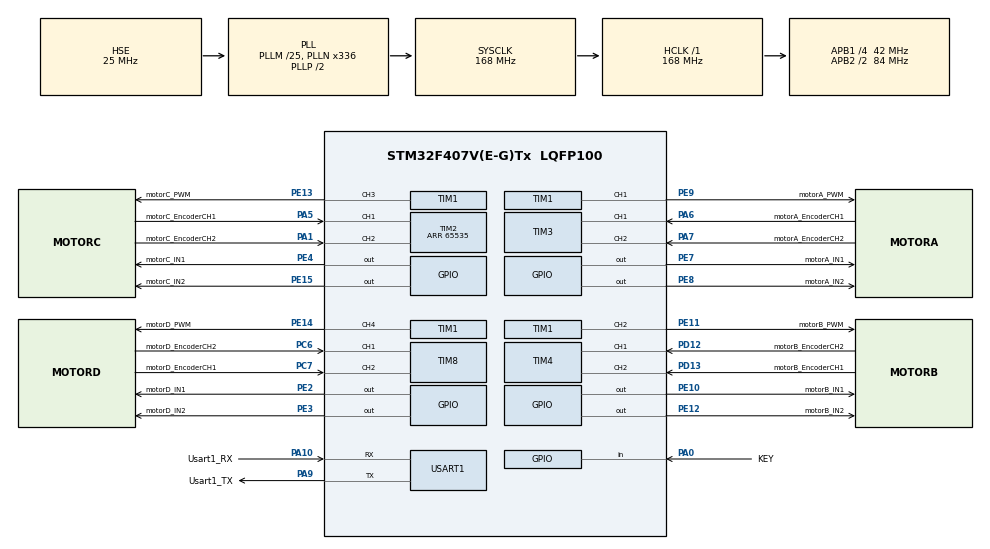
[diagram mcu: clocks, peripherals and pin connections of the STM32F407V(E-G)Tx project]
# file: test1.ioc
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Dma.Request0=USART1_TX
Dma.Request1=USART1_RX
Dma.USART1_RX.1.Direction=DMA_PERIPH_TO_MEMORY
Dma.USART1_RX.1.FIFOMode=DMA_FIFOMODE_DISABLE
Dma.USART1_RX.1.Instance=DMA2_Stream2
Dma.USART1_RX.1.MemDataAlignment=DMA_MDATAALIGN_BYTE
Dma.USART1_RX.1.MemInc=DMA_MINC_ENABLE
Dma.USART1_RX.1.Mode=DMA_NORMAL
Dma.USART1_RX.1.PeriphDataAlignment=DMA_PDATAALIGN_BYTE
Dma.USART1_RX.1.PeriphInc=DMA_PINC_DISABLE
Dma.USART1_RX.1.Priority=DMA_PRIORITY_LOW
Dma.USART1_TX.0.Direction=DMA_MEMORY_TO_PERIPH
Dma.USART1_TX.0.FIFOMode=DMA_FIFOMODE_DISABLE
Dma.USART1_TX.0.Instance=DMA2_Stream7
Dma.USART1_TX.0.MemDataAlignment=DMA_MDATAALIGN_BYTE
Dma.USART1_TX.0.MemInc=DMA_MINC_ENABLE
Dma.USART1_TX.0.Mode=DMA_NORMAL
Dma.USART1_TX.0.PeriphDataAlignment=DMA_PDATAALIGN_BYTE
Dma.USART1_TX.0.PeriphInc=DMA_PINC_DISABLE
Dma.USART1_TX.0.Priority=DMA_PRIORITY_LOW
Mcu.Family=STM32F4
Mcu.Name=STM32F407V(E-G)Tx
Mcu.Package=LQFP100
NVIC.DMA2_Stream2_IRQn=true\:0\:0\:false\:false\:true\:false\:true\:true
NVIC.DMA2_Stream7_IRQn=true\:0\:0\:false\:false\:true\:false\:true\:true
NVIC.PriorityGroup=NVIC_PRIORITYGROUP_2
NVIC.TIM2_IRQn=true\:0\:0\:false\:false\:true\:true\:true\:true
NVIC.TIM3_IRQn=true\:0\:0\:false\:false\:true\:true\:true\:true
NVIC.TIM4_IRQn=true\:0\:0\:false\:false\:true\:true\:true\:true
NVIC.TIM7_IRQn=true\:0\:0\:false\:false\:true\:true\:true\:true
NVIC.TIM8_UP_TIM13_IRQn=true\:0\:0\:false\:false\:true\:true\:true\:true
NVIC.USART1_IRQn=true\:0\:0\:false\:false\:true\:true\:true\:true
PA0-WKUP.GPIO_Label=KEY
PA0-WKUP.GPIO_PuPd=GPIO_PULLDOWN
PA0-WKUP.Signal=GPIO_Input
PA1.GPIO_Label=motorC_EncoderCH2
PA1.GPIO_Speed=GPIO_SPEED_FREQ_VERY_HIGH
PA1.Signal=S_TIM2_CH2
PA10.GPIO_Label=Usart1_RX
PA10.Mode=Asynchronous
PA10.Signal=USART1_RX
PA13.Mode=Serial_Wire
PA13.Signal=SYS_JTMS-SWDIO
PA14.Mode=Serial_Wire
PA14.Signal=SYS_JTCK-SWCLK
PA5.GPIO_Label=motorC_EncoderCH1
PA5.GPIO_Speed=GPIO_SPEED_FREQ_VERY_HIGH
PA5.Signal=S_TIM2_CH1_ETR
PA6.GPIO_Label=motorA_EncoderCH1
PA6.GPIO_Speed=GPIO_SPEED_FREQ_VERY_HIGH
PA6.Signal=S_TIM3_CH1
PA7.GPIO_Label=motorA_EncoderCH2
PA7.GPIO_Speed=GPIO_SPEED_FREQ_VERY_HIGH
PA7.Signal=S_TIM3_CH2
PA9.GPIO_Label=Usart1_TX
PA9.Mode=Asynchronous
PA9.Signal=USART1_TX
PC14-OSC32_IN.Mode=LSE-External-Oscillator
PC14-OSC32_IN.Signal=RCC_OSC32_IN
PC15-OSC32_OUT.Mode=LSE-External-Oscillator
PC15-OSC32_OUT.Signal=RCC_OSC32_OUT
PC6.GPIO_Label=motorD_EncoderCH2
PC6.GPIO_Speed=GPIO_SPEED_FREQ_VERY_HIGH
PC6.Signal=S_TIM8_CH1
PC7.GPIO_Label=motorD_EncoderCH1
PC7.GPIO_Speed=GPIO_SPEED_FREQ_VERY_HIGH
PC7.Signal=S_TIM8_CH2
PD12.GPIO_Label=motorB_EncoderCH2
PD12.GPIO_Speed=GPIO_SPEED_FREQ_VERY_HIGH
PD12.Signal=S_TIM4_CH1
PD13.GPIO_Label=motorB_EncoderCH1
PD13.GPIO_Speed=GPIO_SPEED_FREQ_VERY_HIGH
PD13.Signal=S_TIM4_CH2
PE10.GPIO_Label=motorB_IN1
PE10.GPIO_ModeDefaultOutputPP=GPIO_MODE_OUTPUT_PP
PE10.GPIO_Speed=GPIO_SPEED_FREQ_HIGH
PE10.Signal=GPIO_Output
PE11.GPIO_Label=motorB_PWM
PE11.GPIO_PuPd=GPIO_PULLDOWN
PE11.GPIO_Speed=GPIO_SPEED_FREQ_HIGH
PE11.Signal=S_TIM1_CH2
PE12.GPIO_Label=motorB_IN2
PE12.GPIO_Speed=GPIO_SPEED_FREQ_HIGH
PE12.Signal=GPIO_Output
PE13.GPIO_Label=motorC_PWM
PE13.GPIO_PuPd=GPIO_PULLDOWN
PE13.GPIO_Speed=GPIO_SPEED_FREQ_HIGH
PE13.Signal=S_TIM1_CH3
PE14.GPIO_Label=motorD_PWM
PE14.GPIO_PuPd=GPIO_PULLDOWN
PE14.GPIO_Speed=GPIO_SPEED_FREQ_HIGH
PE14.Signal=S_TIM1_CH4
PE15.GPIO_Label=motorC_IN2
PE15.GPIO_ModeDefaultOutputPP=GPIO_MODE_OUTPUT_PP
PE15.GPIO_Speed=GPIO_SPEED_FREQ_HIGH
PE15.Signal=GPIO_Output
PE2.GPIO_Label=motorD_IN1
PE2.GPIO_ModeDefaultOutputPP=GPIO_MODE_OUTPUT_PP
PE2.GPIO_Speed=GPIO_SPEED_FREQ_HIGH
PE2.Signal=GPIO_Output
PE3.GPIO_Label=motorD_IN2
PE3.GPIO_Speed=GPIO_SPEED_FREQ_HIGH
PE3.Signal=GPIO_Output
PE4.GPIO_Label=motorC_IN1
PE4.GPIO_Speed=GPIO_SPEED_FREQ_HIGH
PE4.Signal=GPIO_Output
PE7.GPIO_Label=motorA_IN1
PE7.GPIO_Speed=GPIO_SPEED_FREQ_HIGH
PE7.Signal=GPIO_Output
PE8.GPIO_Label=motorA_IN2
PE8.GPIO_ModeDefaultOutputPP=GPIO_MODE_OUTPUT_PP
PE8.GPIO_Speed=GPIO_SPEED_FREQ_HIGH
PE8.PinState=GPIO_PIN_RESET
PE8.Signal=GPIO_Output
PE9.GPIO_Label=motorA_PWM
PE9.GPIO_PuPd=GPIO_PULLDOWN
PE9.GPIO_Speed=GPIO_SPEED_FREQ_HIGH
PE9.Signal=S_TIM1_CH1
PH0-OSC_IN.Mode=HSE-External-Oscillator
PH0-OSC_IN.Signal=RCC_OSC_IN
PH1-OSC_OUT.Mode=HSE-External-Oscillator
PH1-OSC_OUT.Signal=RCC_OSC_OUT
ProjectManager.HeapSize=0x200
ProjectManager.StackSize=0x400
ProjectManager.TargetToolchain=MDK-ARM V5.32
RCC.48MHZClocksFreq_Value=84000000
RCC.AHBFreq_Value=168000000
RCC.APB1CLKDivider=RCC_HCLK_DIV4
RCC.APB1Freq_Value=42000000
RCC.APB1TimFreq_Value=84000000
RCC.APB2CLKDivider=RCC_HCLK_DIV2
RCC.APB2Freq_Value=84000000
RCC.APB2TimFreq_Value=168000000
RCC.CortexFreq_Value=168000000
RCC.HCLKFreq_Value=168000000
RCC.HSE_VALUE=25000000
RCC.HSI_VALUE=16000000
RCC.PLLM=25
RCC.PLLN=336
RCC.PLLSourceVirtual=RCC_PLLSOURCE_HSE
RCC.RCC_RTC_Clock_Source=RCC_RTCCLKSOURCE_LSI
RCC.RCC_RTC_Clock_SourceVirtual=RCC_RTCCLKSOURCE_LSE
RCC.SYSCLKFreq_VALUE=168000000
RCC.SYSCLKSource=RCC_SYSCLKSOURCE_PLLCLK
RCC.VCOOutputFreq_Value=336000000
SH.S_TIM1_CH1.0=TIM1_CH1,PWM Generation1 CH1
SH.S_TIM1_CH2.0=TIM1_CH2,PWM Generation2 CH2
SH.S_TIM1_CH3.0=TIM1_CH3,PWM Generation3 CH3
SH.S_TIM1_CH4.0=TIM1_CH4,PWM Generation4 CH4
SH.S_TIM2_CH1_ETR.0=TIM2_CH1,Encoder_Interface
SH.S_TIM2_CH2.0=TIM2_CH2,Encoder_Interface
SH.S_TIM3_CH1.0=TIM3_CH1,Encoder_Interface
SH.S_TIM3_CH2.0=TIM3_CH2,Encoder_Interface
SH.S_TIM4_CH1.0=TIM4_CH1,Encoder_Interface
SH.S_TIM4_CH2.0=TIM4_CH2,Encoder_Interface
SH.S_TIM8_CH1.0=TIM8_CH1,Encoder_Interface
SH.S_TIM8_CH2.0=TIM8_CH2,Encoder_Interface
TIM1.AutoReloadPreload=TIM_AUTORELOAD_PRELOAD_ENABLE
TIM1.Channel-PWM\ Generation1\ CH1=TIM_CHANNEL_1
TIM1.Channel-PWM\ Generation2\ CH2=TIM_CHANNEL_2
TIM1.Channel-PWM\ Generation3\ CH3=TIM_CHANNEL_3
TIM1.Channel-PWM\ Generation4\ CH4=TIM_CHANNEL_4
TIM1.OC1Preload_PWM=DISABLE
TIM1.Period=1000
TIM1.Prescaler=168-1
TIM1.Pulse-PWM\ Generation1\ CH1=300
TIM2.EncoderMode=TIM_ENCODERMODE_TI12
TIM2.Period=65535
TIM3.EncoderMode=TIM_ENCODERMODE_TI12
TIM3.IC1Filter=5
TIM3.IC2Filter=7
TIM4.EncoderMode=TIM_ENCODERMODE_TI12
TIM4.IC1Filter=7
TIM4.IC2Filter=7
TIM7.Period=1000-1
TIM7.Prescaler=84-1
TIM8.EncoderMode=TIM_ENCODERMODE_TI12
USART1.VirtualMode=VM_ASYNC
VP_RTC_VS_RTC_Activate.Mode=RTC_Enabled
VP_TIM1_VS_ClockSourceINT.Mode=Internal
VP_TIM7_VS_ClockSourceINT.Mode=Enable_Timer
board=custom

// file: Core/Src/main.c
/* USER CODE BEGIN Header */
/**
  ******************************************************************************
  * @file           : main.c
  * @brief          : Main program body
  ******************************************************************************
  * @attention
  *
  * Copyright (c) 2025 STMicroelectronics.
  * All rights reserved.
  *
  * This software is licensed under terms that can be found in the LICENSE file
  * in the root directory of this software component.
  * If no LICENSE file comes with this software, it is provided AS-IS.
  *
  ******************************************************************************
  */
/* USER CODE END Header */
#include "main.h"
#include "dma.h"
#include "rtc.h"
#include "tim.h"
#include "usart.h"
#include "gpio.h"

/* USER CODE BEGIN Includes */

#include "delay.h"
#include <stdio.h>
#include <math.h>

/* USER CODE END Includes */

/* USER CODE BEGIN PV */
unsigned int proc_slow;
unsigned char key_flag;
static unsigned char key_val,key_down,key_up,key_old;
unsigned char keytime_flag;
uint16_t keytime_count;

extern float targetA;
extern float targetB;
extern float targetC;
extern float targetD;

// ======================== 机器人参数配置区 ========================
// 请根据您的机器人修改以下参数

#define ROBOT_TYPE  1  // 0=差速驱动, 1=麦克纳姆轮, 2=全向轮

// 轮子参数
#define WHEEL_DIAMETER   0.092f   // 轮子直径 (米) - 请修改为实际值
#define WHEEL_RADIUS     (WHEEL_DIAMETER / 2.0f)
#define WHEEL_BASE       0.210f   // 轮距：左右轮中心距离 (米) - 请修改
#define WHEEL_TRACK      0.170f   // 轴距：前后轮中心距离 (米) - 麦克纳姆轮/全向轮需要

// 编码器参数
#define ENCODER_PPR      1560     // 编码器每转脉冲数 - 请修改
#define GEAR_RATIO       30.0f    // 减速比 - 请修改
#define PULSES_PER_REV   (ENCODER_PPR * GEAR_RATIO)  // 轮子转一圈的总脉冲数

// 计算常数
#define PI               3.14159265358979f
#define WHEEL_PERIMETER  (2.0f * PI * WHEEL_RADIUS)         // 轮子周长
#define METER_PER_PULSE  (WHEEL_PERIMETER / PULSES_PER_REV) // 每个脉冲对应的距离

// 采样周期 (秒) - 与发送频率对应
#define DT               0.1f     // 100ms = 0.1s，如修改HAL_Delay需同步修改

// IMU配置
#define USE_IMU          1        // 1=使用IMU修正角度, 0=仅使用编码器
#define IMU_UART         huart2   // IMU连接的串口，请修改为实际串口（如huart2、huart3等）

// ======================== WT901BCTTL IMU数据 ========================
typedef struct {
    float roll;       // 横滚角 (rad)
    float pitch;      // 俯仰角 (rad)
    float yaw;        // 偏航角 (rad) - 用于里程计
    float gyro_x;     // X轴角速度 (rad/s)
    float gyro_y;     // Y轴角速度 (rad/s)
    float gyro_z;     // Z轴角速度 (rad/s) - 用于里程计
    float accel_x;    // X轴加速度 (m/s²)
    float accel_y;    // Y轴加速度 (m/s²)
    float accel_z;    // Z轴加速度 (m/s²)
    uint8_t updated;  // 数据更新标志
} IMU_Data_t;

IMU_Data_t imu_data = {0};

// WT901BCTTL接收缓冲区
uint8_t imu_rx_buffer[11];  // WT901BCTTL单帧数据11字节
uint8_t imu_rx_state = 0;   // 接收状态机
uint8_t imu_rx_index = 0;   // 接收索引

// ======================== 编码器数据 ========================
typedef struct {
    int32_t left;         // 左轮编码器计数
    int32_t right;        // 右轮编码器计数
    int32_t front_left;   // 左前轮编码器（麦克纳姆轮/全向轮）
    int32_t front_right;  // 右前轮编码器（麦克纳姆轮/全向轮）
    int32_t last_left;    // 上次左轮计数
    int32_t last_right;   // 上次右轮计数
    int32_t last_front_left;
    int32_t last_front_right;
} Encoder_t;

Encoder_t encoder = {0};

// ======================== 里程计数据 ========================
typedef struct {
    float x;   // 累积坐标X (m)
    float y;   // 累积坐标Y (m)
    float th;  // 角度Theta (rad)
    float vx;  // X方向线速度 (m/s)
    float vy;  // Y方向线速度 (m/s)
    float wz;  // Z轴角速度 (rad/s)
} OdomData_t;

OdomData_t odom_data = {0};

// ======================== 里程计计算函数 ========================
void Update_Odometry(void)
{
    // TODO: 从编码器获取当前计数值，请根据实际硬件修改
    // 示例：encoder.left = __HAL_TIM_GET_COUNTER(&htimX);
    // 示例：encoder.right = __HAL_TIM_GET_COUNTER(&htimY);

    // 计算编码器增量
    int32_t delta_left = encoder.left - encoder.last_left;
    int32_t delta_right = encoder.right - encoder.last_right;

    // 保存当前值作为下次的上次值
    encoder.last_left = encoder.left;
    encoder.last_right = encoder.right;

#if ROBOT_TYPE == 0  // 差速驱动机器人
    // 计算左右轮移动距离
    float dist_left = delta_left * METER_PER_PULSE;
    float dist_right = delta_right * METER_PER_PULSE;

    // 计算机器人中心移动距离
    float dist_center = (dist_left + dist_right) / 2.0f;

#if USE_IMU == 1
    // 使用IMU的yaw角作为机器人角度（更精确）
    if(imu_data.updated) {
        odom_data.th = imu_data.yaw;
        odom_data.wz = imu_data.gyro_z;  // 使用IMU的角速度
        imu_data.updated = 0;
    }

    // 使用IMU角度更新位置
    float delta_x = dist_center * cosf(odom_data.th);
    float delta_y = dist_center * sinf(odom_data.th);

    odom_data.x += delta_x;
    odom_data.y += delta_y;

    // 计算线速度
    odom_data.vx = dist_center / DT;
    odom_data.vy = 0.0f;  // 差速驱动没有侧向速度
    // wz已经从IMU获取

#else
    // 仅使用编码器计算（无IMU）
    float delta_theta = (dist_right - dist_left) / WHEEL_BASE;

    // 更新位置（使用中点法，更精确）
    float delta_x = dist_center * cosf(odom_data.th + delta_theta / 2.0f);
    float delta_y = dist_center * sinf(odom_data.th + delta_theta / 2.0f);

    odom_data.x += delta_x;
    odom_data.y += delta_y;
    odom_data.th += delta_theta;

    // 角度归一化到 [-π, π]
    while(odom_data.th > PI) odom_data.th -= 2.0f * PI;
    while(odom_data.th < -PI) odom_data.th += 2.0f * PI;

    // 计算速度
    odom_data.vx = dist_center / DT;
    odom_data.vy = 0.0f;  // 差速驱动没有侧向速度
    odom_data.wz = delta_theta / DT;
#endif

#elif ROBOT_TYPE == 1  // 麦克纳姆轮机器人
    // 获取四个轮子的编码器增量
    int32_t delta_fl = encoder.front_left - encoder.last_front_left;
    int32_t delta_fr = encoder.front_right - encoder.last_front_right;

    encoder.last_front_left = encoder.front_left;
    encoder.last_front_right = encoder.front_right;

    // 计算各轮移动距离
    float dist_fl = delta_fl * METER_PER_PULSE;
    float dist_fr = delta_fr * METER_PER_PULSE;
    float dist_rl = delta_left * METER_PER_PULSE;   // 后左
    float dist_rr = delta_right * METER_PER_PULSE;  // 后右

    // 麦克纳姆轮逆运动学
    float vx_local = (dist_fl + dist_fr + dist_rl + dist_rr) / 4.0f / DT;
    float vy_local = (-dist_fl + dist_fr + dist_rl - dist_rr) / 4.0f / DT;
    float wz_local = (-dist_fl + dist_fr - dist_rl + dist_rr) / 4.0f / (WHEEL_BASE + WHEEL_TRACK) / DT;

    // 转换到全局坐标系
    odom_data.vx = vx_local * cosf(odom_data.th) - vy_local * sinf(odom_data.th);
    odom_data.vy = vx_local * sinf(odom_data.th) + vy_local * cosf(odom_data.th);
    odom_data.wz = wz_local;

    // 更新位置
    odom_data.x += odom_data.vx * DT;
    odom_data.y += odom_data.vy * DT;
    odom_data.th += odom_data.wz * DT;

    // 角度归一化
    while(odom_data.th > PI) odom_data.th -= 2.0f * PI;
    while(odom_data.th < -PI) odom_data.th += 2.0f * PI;

#elif ROBOT_TYPE == 2  // 全向轮机器人（三轮120°布局）
    // 根据实际布局计算，此处为示例
    // 请根据您的全向轮布局修改计算公式

#endif
}

// ======================== 发送里程计数据函数 ========================
// 格式: $x,y,th,vx,vy,wz#
void Send_GyroData(void)
{
    char tx_buffer[80];
    int len;

    // 格式化里程计数据为ROS标准格式
    len = sprintf(tx_buffer, "$%.3f,%.3f,%.3f,%.3f,%.3f,%.3f#",
                  odom_data.x, odom_data.y, odom_data.th,
                  odom_data.vx, odom_data.vy, odom_data.wz);

    // 通过USART1发送数据到ROS
    HAL_UART_Transmit(&huart1, (uint8_t*)tx_buffer, len, 100);
}

/* USER CODE END PV */

void SystemClock_Config(void);

/* USER CODE BEGIN 0 */

// ======================== WT901BCTTL IMU数据解析函数 ========================
// 解析WT901BCTTL数据帧
void Parse_IMU_Data(uint8_t *data)
{
    uint8_t sum = 0;

    // 校验和计算（前10字节相加）
    for(int i = 0; i < 10; i++) {
        sum += data[i];
    }

    // 校验不通过，丢弃数据
    if(sum != data[10]) return;

    // 根据数据类型解析
    switch(data[1])
    {
        case 0x51: // 加速度数据
        {
            int16_t ax = (int16_t)(data[3] << 8 | data[2]);
            int16_t ay = (int16_t)(data[5] << 8 | data[4]);
            int16_t az = (int16_t)(data[7] << 8 | data[6]);

            // 转换为m/s²（量程±16g）
            imu_data.accel_x = ax / 32768.0f * 16.0f * 9.8f;
            imu_data.accel_y = ay / 32768.0f * 16.0f * 9.8f;
            imu_data.accel_z = az / 32768.0f * 16.0f * 9.8f;
            break;
        }

        case 0x52: // 角速度数据
        {
            int16_t gx = (int16_t)(data[3] << 8 | data[2]);
            int16_t gy = (int16_t)(data[5] << 8 | data[4]);
            int16_t gz = (int16_t)(data[7] << 8 | data[6]);

            // 转换为rad/s（量程±2000°/s）
            imu_data.gyro_x = gx / 32768.0f * 2000.0f * PI / 180.0f;
            imu_data.gyro_y = gy / 32768.0f * 2000.0f * PI / 180.0f;
            imu_data.gyro_z = gz / 32768.0f * 2000.0f * PI / 180.0f;
            break;
        }

        case 0x53: // 角度数据（欧拉角）- 最重要！
        {
            int16_t roll = (int16_t)(data[3] << 8 | data[2]);
            int16_t pitch = (int16_t)(data[5] << 8 | data[4]);
            int16_t yaw = (int16_t)(data[7] << 8 | data[6]);

            // 转换为rad（量程±180°）
            imu_data.roll = roll / 32768.0f * PI;
            imu_data.pitch = pitch / 32768.0f * PI;
            imu_data.yaw = yaw / 32768.0f * PI;

            imu_data.updated = 1;  // 标记数据已更新
            break;
        }

        default:
            break;
    }
}

// WT901BCTTL串口接收中断回调函数
// 需要在main函数中启动接收中断：HAL_UART_Receive_IT(&IMU_UART, &imu_rx_buffer[0], 1);
void HAL_UART_RxCpltCallback(UART_HandleTypeDef *huart)
{
    if(huart->Instance == IMU_UART.Instance)
    {
        switch(imu_rx_state)
        {
            case 0: // 等待帧头0x55
                if(imu_rx_buffer[0] == 0x55) {
                    imu_rx_state = 1;
                    imu_rx_index = 1;
                }
                break;

            case 1: // 接收数据
                imu_rx_buffer[imu_rx_index++] = imu_rx_buffer[0];
                if(imu_rx_index >= 11) {
                    // 一帧接收完成，解析数据
                    Parse_IMU_Data(imu_rx_buffer);
                    imu_rx_state = 0;
                    imu_rx_index = 0;
                }
                break;
        }

        // 继续接收下一个字节
        HAL_UART_Receive_IT(&IMU_UART, &imu_rx_buffer[0], 1);
    }
}

void key_proc(void)
{
    if(key_flag!=0)return;
    key_flag=1;
    key_val = key_scan();
    key_down = key_val &(key_old^key_val);
    key_up = ~key_val&(key_old^key_val);
    key_old = key_val;

    if(key_down)
    {
        keytime_flag = 1;//��ʱ��ʼ
    }
    if(keytime_count<500)//�̰�
        {
            if(key_up)//S15̧��
            {
                keytime_flag = keytime_count = 0;//״̬��λ
                targetA += 0.5;
                if(targetA >= 5.2) targetA = 0;
                targetB += 0.5;
                if(targetB >= 5.2) targetB = 0;
                targetC += 0.5;
                if(targetC >= 5.2) targetC = 0;
                targetD += 0.5;
                if(targetD >= 5.2) targetD = 0;
                __HAL_TIM_SET_COMPARE(&htim1, TIM_CHANNEL_1,100);
            }
        }
        else//����
        {
            if(key_old)//S15����
            {
               targetA = 0;
            }
            if(key_up)//S15̧��
                keytime_flag = keytime_count = 0;//״̬��λ
        }
}

/* USER CODE END 0 */

int main(void)
{

  /* MCU Configuration--------------------------------------------------------*/

  /* Reset of all peripherals, Initializes the Flash interface and the Systick. */
  HAL_Init();

  /* Configure the system clock */
  SystemClock_Config();

  /* Initialize all configured peripherals */
  MX_GPIO_Init();
  MX_DMA_Init();
  MX_RTC_Init();
  MX_TIM1_Init();
  MX_TIM7_Init();
  MX_TIM3_Init();
  MX_USART1_UART_Init();
  MX_TIM4_Init();
  MX_TIM2_Init();
  MX_TIM8_Init();
  /* USER CODE BEGIN 2 */
    delay_init(168);

#if USE_IMU == 1
    // 启动WT901BCTTL IMU串口接收中断
    HAL_UART_Receive_IT(&IMU_UART, &imu_rx_buffer[0], 1);
#endif

  /* USER CODE END 2 */

  /* Infinite loop */
  while (1)
  {

    /* USER CODE BEGIN 3 */
    key_proc();

    // 更新里程计数据
    Update_Odometry();

    // 发送里程计数据到ROS
    Send_GyroData();

    // 延时，避免发送过于频繁
    HAL_Delay(100);

//      targetA = 4;
//      targetB = 4;
//      targetC = 4;
//      targetD = 4;
  }
  /* USER CODE END 3 */
}

void SystemClock_Config(void)
{
  RCC_OscInitTypeDef RCC_OscInitStruct = {0};
  RCC_ClkInitTypeDef RCC_ClkInitStruct = {0};

  /** Configure the main internal regulator output voltage
  */
  __HAL_RCC_PWR_CLK_ENABLE();
  __HAL_PWR_VOLTAGESCALING_CONFIG(PWR_REGULATOR_VOLTAGE_SCALE1);

  /** Initializes the RCC Oscillators according to the specified parameters
  * in the RCC_OscInitTypeDef structure.
  */
  RCC_OscInitStruct.OscillatorType = RCC_OSCILLATORTYPE_LSI|RCC_OSCILLATORTYPE_HSE;
  RCC_OscInitStruct.HSEState = RCC_HSE_ON;
  RCC_OscInitStruct.LSIState = RCC_LSI_ON;
  RCC_OscInitStruct.PLL.PLLState = RCC_PLL_ON;
  RCC_OscInitStruct.PLL.PLLSource = RCC_PLLSOURCE_HSE;
  RCC_OscInitStruct.PLL.PLLM = 25;
  RCC_OscInitStruct.PLL.PLLN = 336;
  RCC_OscInitStruct.PLL.PLLP = RCC_PLLP_DIV2;
  RCC_OscInitStruct.PLL.PLLQ = 7;  // 修正USB时钟: 336MHz/7=48MHz
  if (HAL_RCC_OscConfig(&RCC_OscInitStruct) != HAL_OK)
  {
    Error_Handler();
  }

  /** Initializes the CPU, AHB and APB buses clocks
  */
  RCC_ClkInitStruct.ClockType = RCC_CLOCKTYPE_HCLK|RCC_CLOCKTYPE_SYSCLK
                              |RCC_CLOCKTYPE_PCLK1|RCC_CLOCKTYPE_PCLK2;
  RCC_ClkInitStruct.SYSCLKSource = RCC_SYSCLKSOURCE_PLLCLK;
  RCC_ClkInitStruct.AHBCLKDivider = RCC_SYSCLK_DIV1;
  RCC_ClkInitStruct.APB1CLKDivider = RCC_HCLK_DIV4;
  RCC_ClkInitStruct.APB2CLKDivider = RCC_HCLK_DIV2;

  if (HAL_RCC_ClockConfig(&RCC_ClkInitStruct, FLASH_LATENCY_5) != HAL_OK)
  {
    Error_Handler();
  }
}

void Error_Handler(void)
{
  __disable_irq();
  while (1)
  {
  }
}
